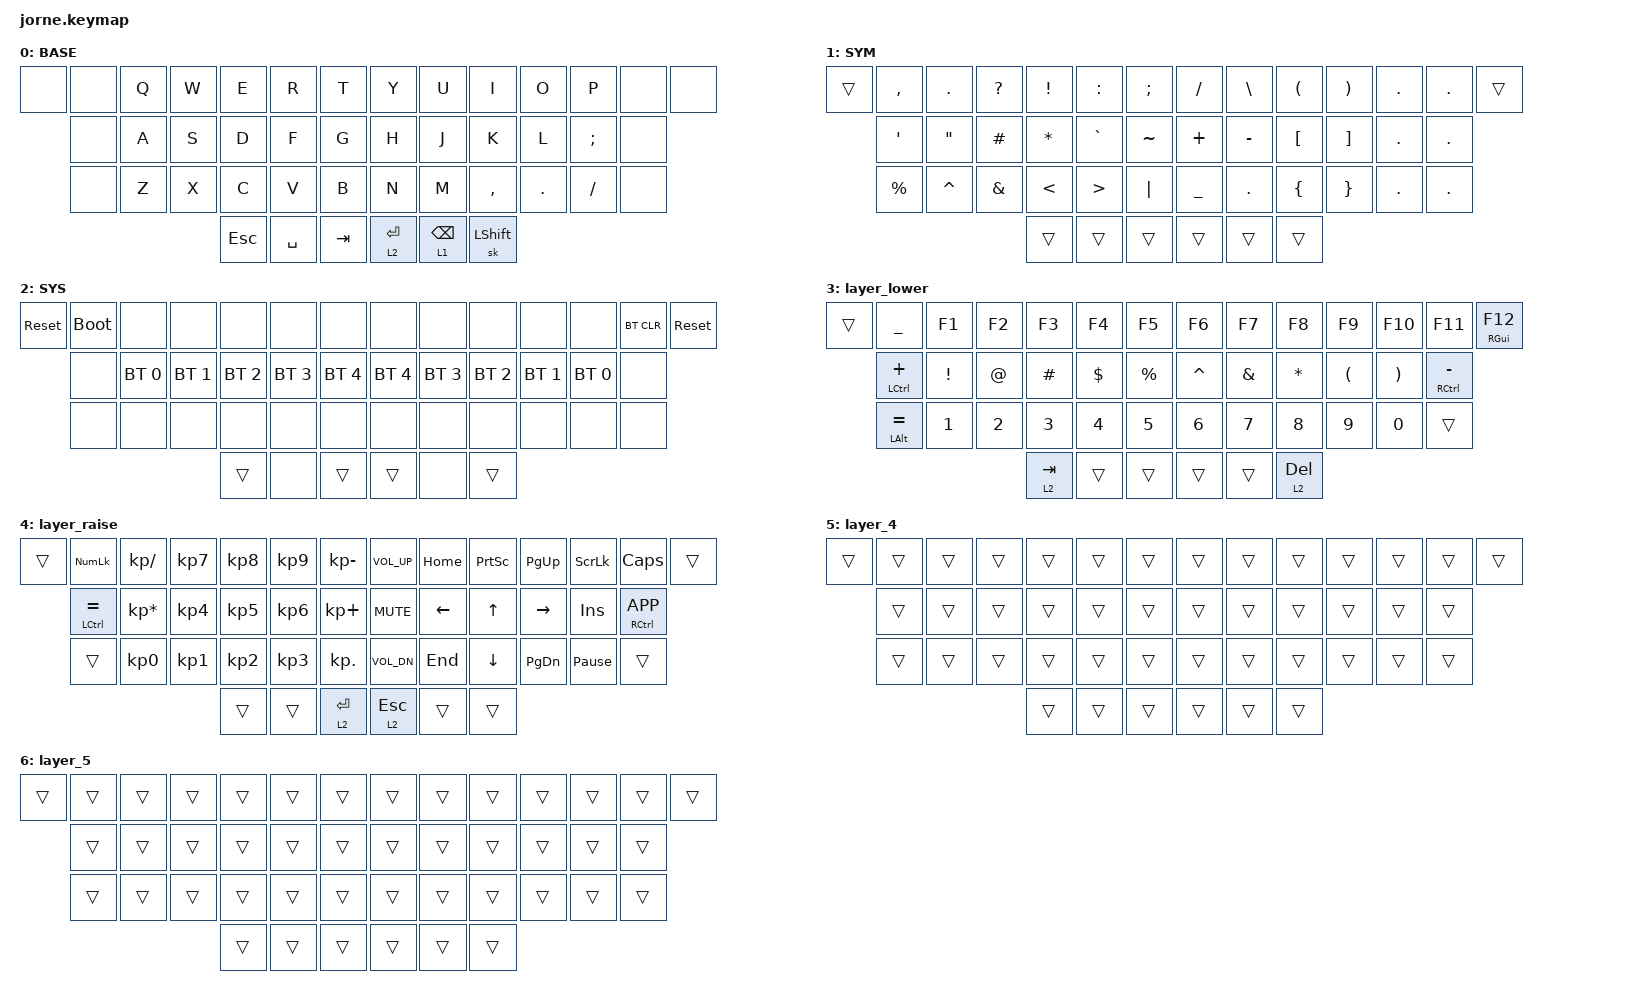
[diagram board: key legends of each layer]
/*
 * Copyright (c) 2020 The ZMK Contributors
 *
 * SPDX-License-Identifier: MIT
 */
/* THIS FILE WAS GENERATED!
 *
 * This file was generated automatically. You may or may not want to
 * edit it directly.
 */

#include <behaviors.dtsi>
#include <dt-bindings/zmk/bt.h>
#include <dt-bindings/zmk/keys.h>

/ {
    keymap {
        compatible = "zmk,keymap";

        BASE {
            bindings = <
&none  &none  &kp Q  &kp W  &kp E       &kp R      &kp T    &kp Y         &kp U            &kp I           &kp O    &kp P     &none  &none
       &none  &kp A  &kp S  &kp D       &kp F      &kp G    &kp H         &kp J            &kp K           &kp L    &kp SEMI  &none
       &none  &kp Z  &kp X  &kp C       &kp V      &kp B    &kp N         &kp M            &kp COMMA       &kp DOT  &kp FSLH  &none
                            &kp ESCAPE  &kp SPACE  &kp TAB  &lt 2 RETURN  &lt 1 BACKSPACE  &sk LEFT_SHIFT
            >;
        };

        SYM {
            bindings = <
&trans  &kp COMMA    &kp DOT            &kp QUESTION   &kp EXCLAMATION  &kp COLON         &kp SEMICOLON  &kp SLASH       &kp BACKSLASH  &kp LEFT_PARENTHESIS  &kp RIGHT_PARENTHESIS  &kp DOT  &kp DOT  &trans
        &kp SQT      &kp DOUBLE_QUOTES  &kp HASH       &kp ASTERISK     &kp GRAVE         &kp TILDE      &kp PLUS        &kp MINUS      &kp LEFT_BRACKET      &kp RIGHT_BRACKET      &kp DOT  &kp DOT
        &kp PERCENT  &kp CARET          &kp AMPERSAND  &kp LESS_THAN    &kp GREATER_THAN  &kp PIPE       &kp UNDERSCORE  &kp DOT        &kp LEFT_BRACE        &kp RIGHT_BRACE        &kp DOT  &kp DOT
                                                       &trans           &trans            &trans         &trans          &trans         &trans
            >;
        };

        SYS {
            bindings = <
&sys_reset  &bootloader  &none         &none         &none         &none         &none         &none         &none         &none         &none         &none         &bt BT_CLR  &sys_reset
            &none        &bt BT_SEL 0  &bt BT_SEL 1  &bt BT_SEL 2  &bt BT_SEL 3  &bt BT_SEL 4  &bt BT_SEL 4  &bt BT_SEL 3  &bt BT_SEL 2  &bt BT_SEL 1  &bt BT_SEL 0  &none
            &none        &none         &none         &none         &none         &none         &none         &none         &none         &none         &none         &none
                                                     &trans        &none         &trans        &trans        &none         &trans
            >;
        };

        layer_lower {
            bindings = <
&trans  &kp UNDER       &kp F1    &kp F2  &kp F3     &kp F4    &kp F5     &kp F6     &kp F7    &kp F8     &kp F9    &kp F10   &kp F11          &mt RGUI F12
        &mt LCTRL PLUS  &kp EXCL  &kp AT  &kp HASH   &kp DLLR  &kp PRCNT  &kp CARET  &kp AMPS  &kp STAR   &kp LPAR  &kp RPAR  &mt RCTRL MINUS
        &mt LALT EQUAL  &kp N1    &kp N2  &kp N3     &kp N4    &kp N5     &kp N6     &kp N7    &kp N8     &kp N9    &kp N0    &trans
                                          &lt 2 TAB  &trans    &trans     &trans     &trans    &lt 2 DEL
            >;
        };

        layer_raise {
            bindings = <
&trans  &kp KP_NUM       &kp KP_SLASH     &kp KP_N7  &kp KP_N8  &kp KP_N9  &kp KP_MINUS  &kp C_VOL_UP  &kp HOME  &kp PSCRN  &kp PG_UP  &kp SLCK         &kp CAPS         &trans
        &mt LCTRL EQUAL  &kp KP_MULTIPLY  &kp KP_N4  &kp KP_N5  &kp KP_N6  &kp KP_PLUS   &kp C_MUTE    &kp LEFT  &kp UP     &kp RIGHT  &kp INS          &mt RCTRL K_APP
        &trans           &kp KP_N0        &kp KP_N1  &kp KP_N2  &kp KP_N3  &kp KP_DOT    &kp C_VOL_DN  &kp END   &kp DOWN   &kp PG_DN  &kp PAUSE_BREAK  &trans
                                                     &trans     &trans     &lt 2 RET     &lt 2 ESC     &trans    &trans
            >;
        };

        layer_4 {
            bindings = <
&trans  &trans  &trans  &trans  &trans  &trans  &trans  &trans  &trans  &trans  &trans  &trans  &trans  &trans
        &trans  &trans  &trans  &trans  &trans  &trans  &trans  &trans  &trans  &trans  &trans  &trans
        &trans  &trans  &trans  &trans  &trans  &trans  &trans  &trans  &trans  &trans  &trans  &trans
                                &trans  &trans  &trans  &trans  &trans  &trans
            >;
        };

        layer_5 {
            bindings = <
&trans  &trans  &trans  &trans  &trans  &trans  &trans  &trans  &trans  &trans  &trans  &trans  &trans  &trans
        &trans  &trans  &trans  &trans  &trans  &trans  &trans  &trans  &trans  &trans  &trans  &trans
        &trans  &trans  &trans  &trans  &trans  &trans  &trans  &trans  &trans  &trans  &trans  &trans
                                &trans  &trans  &trans  &trans  &trans  &trans
            >;
        };
    };
};
